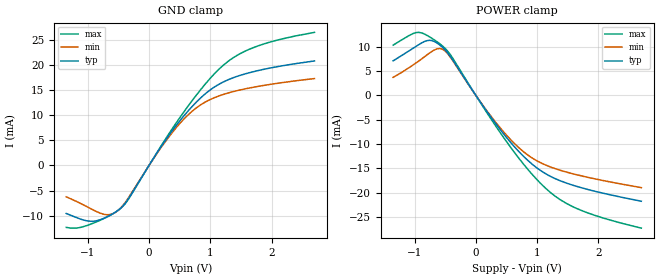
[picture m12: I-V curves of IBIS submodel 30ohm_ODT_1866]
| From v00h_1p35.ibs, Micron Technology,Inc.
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| SUBMODEL 30ohm_ODT_1866
[Submodel]   30ohm_ODT_1866
Submodel_type  Dynamic_clamp
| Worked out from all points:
|   POWER clamp passes 1 mA (typ) near -0.05 V on its own axis
[GND Clamp]
|   Voltage   I(typ)   I(min)   I(max)
-1.35V    -9.542mA   -6.233mA   -12.31mA
-940mV    -11.11mA   -8.658mA   -11.62mA
-740mV    -10.52mA   -9.694mA   -10.58mA
-590mV    -9.601mA   -9.592mA   -9.61mA
-345mV    -6.765mA   -6.598mA   -6.885mA
140mV     2.673mA    2.562mA    2.772mA
460mV     8.199mA    7.741mA    8.748mA
730mV     12.06mA    11.05mA    13.31mA
1.005V    15.08mA    13.15mA    17.41mA
1.31V     17.14mA    14.47mA    20.87mA
1.635V    18.44mA    15.4mA     23.1mA
2.7V      20.78mA    17.28mA    26.47mA
[POWER Clamp]
|   Voltage   I(typ)   I(min)   I(max)
-1.35V    7.11mA     3.722mA    10.34mA
-935mV    10.41mA    7.052mA    12.97mA
-730mV    11.3mA     8.943mA    11.85mA
-540mV    9.842mA    9.471mA    10.12mA
-405mV    7.818mA    7.667mA    8.182mA
150mV     -2.755mA   -2.65mA    -2.958mA
485mV     -8.398mA   -7.944mA   -9.214mA
825mV     -13.08mA   -12.03mA   -14.84mA
1.145V    -16.13mA   -14.34mA   -19.15mA
1.39V     -17.6mA    -15.43mA   -21.53mA
1.645V    -18.69mA   -16.3mA    -23.23mA
2.7V      -21.74mA   -18.95mA   -27.27mA
